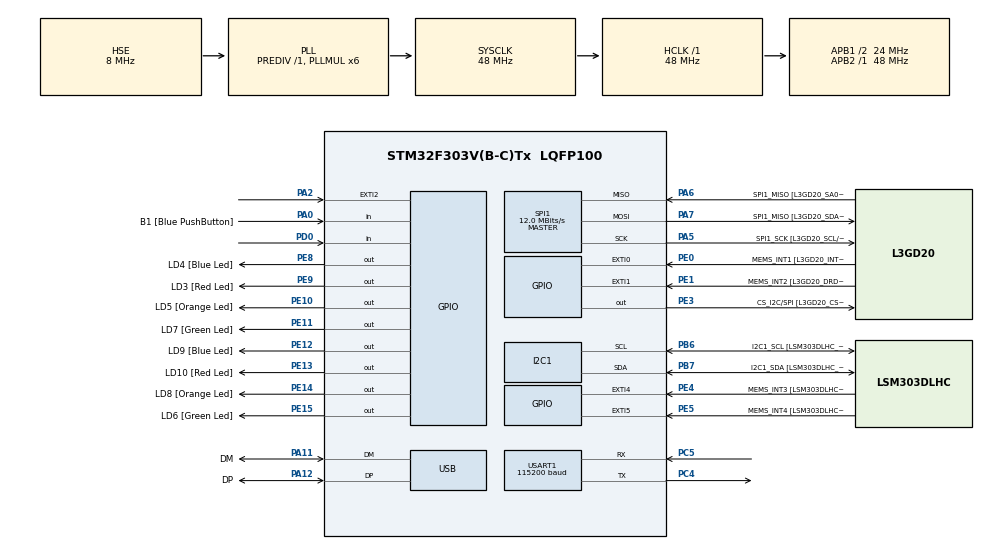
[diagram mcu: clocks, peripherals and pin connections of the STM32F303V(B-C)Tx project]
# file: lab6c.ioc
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I2C1.Timing=0x00201D2B
I2C1.Timing-I2C=0x2000090E
Mcu.Family=STM32F3
Mcu.Name=STM32F303V(B-C)Tx
Mcu.Package=LQFP100
NVIC.PriorityGroup=NVIC_PRIORITYGROUP_0
NVIC.TIM3_IRQn=true\:0\:0\:false\:false\:true\:true\:true\:true
PA0.GPIO_Label=B1 [Blue PushButton]
PA0.Signal=GPIO_Input
PA11.GPIO_Label=DM
PA11.Mode=Device
PA11.Signal=USB_DM
PA12.GPIO_Label=DP
PA12.Mode=Device
PA12.Signal=USB_DP
PA13.GPIO_Label=SWDIO
PA13.Mode=Serial_Wire
PA13.Signal=SYS_JTMS-SWDIO
PA14.GPIO_Label=SWCLK
PA14.Mode=Serial_Wire
PA14.Signal=SYS_JTCK-SWCLK
PA2.Signal=GPXTI2
PA5.GPIO_Label=SPI1_SCK [L3GD20_SCL/SPC]
PA5.Mode=Full_Duplex_Master
PA5.Signal=SPI1_SCK
PA6.GPIO_Label=SPI1_MISO [L3GD20_SA0/SDO]
PA6.Mode=Full_Duplex_Master
PA6.Signal=SPI1_MISO
PA7.GPIO_Label=SPI1_MISO [L3GD20_SDA/SDI/SDO]
PA7.Mode=Full_Duplex_Master
PA7.Signal=SPI1_MOSI
PB3.GPIO_Label=SWO
PB3.Signal=SYS_JTDO-TRACESWO
PB6.GPIO_Label=I2C1_SCL [LSM303DLHC_SCL]
PB6.GPIO_Pu=GPIO_PULLUP
PB6.Mode=I2C
PB6.Signal=I2C1_SCL
PB7.GPIO_Label=I2C1_SDA [LSM303DLHC_SDA]
PB7.GPIO_Pu=GPIO_PULLUP
PB7.Mode=I2C
PB7.Signal=I2C1_SDA
PC14-OSC32_IN.GPIO_Label=OSC32_IN
PC14-OSC32_IN.Signal=RCC_OSC32_IN
PC15-OSC32_OUT.GPIO_Label=OSC32_OUT
PC15-OSC32_OUT.Signal=RCC_OSC32_OUT
PC4.Mode=Asynchronous
PC4.Signal=USART1_TX
PC5.Mode=Asynchronous
PC5.Signal=USART1_RX
PC6.Signal=S_TIM3_CH1
PD0.Signal=GPIO_Input
PE0.GPIO_Label=MEMS_INT1 [L3GD20_INT1]
PE0.GPIO_ModeDefaultEXTI=GPIO_MODE_EVT_RISING
PE0.Signal=GPXTI0
PE1.GPIO_Label=MEMS_INT2 [L3GD20_DRDY/INT2]
PE1.GPIO_ModeDefaultEXTI=GPIO_MODE_EVT_RISING
PE1.Signal=GPXTI1
PE10.GPIO_Label=LD5 [Orange Led]
PE10.Signal=GPIO_Output
PE11.GPIO_Label=LD7 [Green Led]
PE11.Signal=GPIO_Output
PE12.GPIO_Label=LD9 [Blue Led]
PE12.Signal=GPIO_Output
PE13.GPIO_Label=LD10 [Red Led]
PE13.Signal=GPIO_Output
PE14.GPIO_Label=LD8 [Orange Led]
PE14.Signal=GPIO_Output
PE15.GPIO_Label=LD6 [Green Led]
PE15.Signal=GPIO_Output
PE3.GPIO_Label=CS_I2C/SPI [L3GD20_CS_I2C/SPI]
PE3.Signal=GPIO_Output
PE4.GPIO_Label=MEMS_INT3 [LSM303DLHC_INT1]
PE4.GPIO_ModeDefaultEXTI=GPIO_MODE_EVT_RISING
PE4.Signal=GPXTI4
PE5.GPIO_Label=MEMS_INT4 [LSM303DLHC_INT2]
PE5.GPIO_ModeDefaultEXTI=GPIO_MODE_EVT_RISING
PE5.Signal=GPXTI5
PE8.GPIO_Label=LD4 [Blue Led]
PE8.Signal=GPIO_Output
PE9.GPIO_Label=LD3 [Red Led]
PE9.Signal=GPIO_Output
PF0-OSC_IN.GPIO_Label=OSC_IN
PF0-OSC_IN.Mode=HSE-External-Clock-Source
PF0-OSC_IN.Signal=RCC_OSC_IN
PF1-OSC_OUT.GPIO_Label=OSC_OUT
PF1-OSC_OUT.Signal=RCC_OSC_OUT
ProjectManager.HeapSize=0x200
ProjectManager.StackSize=0x400
ProjectManager.TargetToolchain=CMake
RCC.AHBFreq_Value=48000000
RCC.APB1CLKDivider=RCC_HCLK_DIV2
RCC.APB1Freq_Value=24000000
RCC.APB1TimFreq_Value=48000000
RCC.APB2Freq_Value=48000000
RCC.APB2TimFreq_Value=48000000
RCC.CortexFreq_Value=48000000
RCC.HCLKFreq_Value=48000000
RCC.HSE_VALUE=8000000
RCC.HSI_VALUE=8000000
RCC.LSE_VALUE=32768
RCC.PLLMUL=RCC_PLL_MUL6
RCC.SYSCLKFreq_VALUE=48000000
RCC.SYSCLKSourceVirtual=RCC_SYSCLKSOURCE_PLLCLK
RCC.USBFreq_Value=48000000
SH.S_TIM3_CH1.0=TIM3_CH1
SPI1.BaudRatePrescaler=SPI_BAUDRATEPRESCALER_4
SPI1.BaudRatePrescaler-Full_Duplex_Master=SPI_BAUDRATEPRESCALER_2
SPI1.CalculateBaudRate=12.0 MBits/s
SPI1.CalculateBaudRate-Full_Duplex_Master=24.0 MBits/s
SPI1.Direction=SPI_DIRECTION_2LINES
SPI1.Mode=SPI_MODE_MASTER
SPI1.Mode-Full_Duplex_Master=SPI_MODE_MASTER
SPI1.VirtualType=VM_MASTER
TIM3.Prescaler=47
USART1.BaudRate=115200
USART1.VirtualMode-Asynchronous=VM_ASYNC
VP_TIM3_VS_ClockSourceINT.Mode=Internal
board=STM32F3DISCOVERY

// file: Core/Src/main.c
/* USER CODE BEGIN Header */
/**
  ******************************************************************************
  * @file           : main.c
  * @brief          : Main program body
  ******************************************************************************
  * @attention
  *
  * Copyright (c) 2026 STMicroelectronics.
  * All rights reserved.
  *
  * This software is licensed under terms that can be found in the LICENSE file
  * in the root directory of this software component.
  * If no LICENSE file comes with this software, it is provided AS-IS.
  *
  ******************************************************************************
  */
/* USER CODE END Header */
#include "main.h"

/* USER CODE BEGIN Includes */
#include <stdio.h>
/* USER CODE END Includes */

/* USER CODE BEGIN PD */

#define SAMPLES 10
#define PPR 330

/* USER CODE END PD */

I2C_HandleTypeDef hi2c1;

SPI_HandleTypeDef hspi1;

TIM_HandleTypeDef htim3;

UART_HandleTypeDef huart1;

PCD_HandleTypeDef hpcd_USB_FS;

/* USER CODE BEGIN PV */
uint32_t periods[SAMPLES];
uint32_t average = 0;
uint32_t freq = 0;
uint32_t rpm = 0;
/* USER CODE END PV */

void SystemClock_Config(void);
static void MX_GPIO_Init(void);
static void MX_I2C1_Init(void);
static void MX_SPI1_Init(void);
static void MX_USART1_UART_Init(void);
static void MX_USB_PCD_Init(void);
static void MX_TIM3_Init(void);

/* USER CODE BEGIN 0 */
int _write(int file, char *ptr, int len) {
    HAL_UART_Transmit(&huart1, (uint8_t *)ptr, len, HAL_MAX_DELAY);
    return len;
}
/* USER CODE END 0 */

int main(void)
{

  /* MCU Configuration--------------------------------------------------------*/

  /* Reset of all peripherals, Initializes the Flash interface and the Systick. */
  HAL_Init();

  /* Configure the system clock */
  SystemClock_Config();

  /* Initialize all configured peripherals */
  MX_GPIO_Init();
  MX_I2C1_Init();
  MX_SPI1_Init();
  MX_USART1_UART_Init();
  MX_USB_PCD_Init();
  MX_TIM3_Init();
  /* USER CODE BEGIN 2 */

  HAL_TIM_Base_Start(&htim3);

  /* USER CODE END 2 */

  /* Infinite loop */
  while (1)
  {

    /* USER CODE BEGIN 3 */
    uint64_t sum = 0;
    for (int i = 0; i < SAMPLES; i++) {
        while (HAL_GPIO_ReadPin(GPIOD, GPIO_PIN_0) == GPIO_PIN_RESET);
        while (HAL_GPIO_ReadPin(GPIOD, GPIO_PIN_0) == GPIO_PIN_SET);
        __HAL_TIM_SET_COUNTER(&htim3, 0);
        while (HAL_GPIO_ReadPin(GPIOD, GPIO_PIN_0) == GPIO_PIN_RESET);
        while (HAL_GPIO_ReadPin(GPIOD, GPIO_PIN_0) == GPIO_PIN_SET);
        periods[i] = __HAL_TIM_GET_COUNTER(&htim3);
    }
    for (int i = 0; i < SAMPLES; i++) sum = sum + periods[i];
    average = sum / SAMPLES;
    if (average > 0) {
       freq = 666667 / average;
       rpm = (60 * freq) / PPR;
       printf("Average Period: %d us\r\n", (int)average);
       printf("freq: %d Hz\r\n", (int)freq);
       printf("RPM: %d\r\n", (int)rpm);
    }
  }
  /* USER CODE END 3 */
}

void SystemClock_Config(void)
{
  RCC_OscInitTypeDef RCC_OscInitStruct = {0};
  RCC_ClkInitTypeDef RCC_ClkInitStruct = {0};
  RCC_PeriphCLKInitTypeDef PeriphClkInit = {0};

  /** Initializes the RCC Oscillators according to the specified parameters
  * in the RCC_OscInitTypeDef structure.
  */
  RCC_OscInitStruct.OscillatorType = RCC_OSCILLATORTYPE_HSI|RCC_OSCILLATORTYPE_HSE;
  RCC_OscInitStruct.HSEState = RCC_HSE_BYPASS;
  RCC_OscInitStruct.HSEPredivValue = RCC_HSE_PREDIV_DIV1;
  RCC_OscInitStruct.HSIState = RCC_HSI_ON;
  RCC_OscInitStruct.HSICalibrationValue = RCC_HSICALIBRATION_DEFAULT;
  RCC_OscInitStruct.PLL.PLLState = RCC_PLL_ON;
  RCC_OscInitStruct.PLL.PLLSource = RCC_PLLSOURCE_HSE;
  RCC_OscInitStruct.PLL.PLLMUL = RCC_PLL_MUL6;
  if (HAL_RCC_OscConfig(&RCC_OscInitStruct) != HAL_OK)
  {
    Error_Handler();
  }

  /** Initializes the CPU, AHB and APB buses clocks
  */
  RCC_ClkInitStruct.ClockType = RCC_CLOCKTYPE_HCLK|RCC_CLOCKTYPE_SYSCLK
                              |RCC_CLOCKTYPE_PCLK1|RCC_CLOCKTYPE_PCLK2;
  RCC_ClkInitStruct.SYSCLKSource = RCC_SYSCLKSOURCE_PLLCLK;
  RCC_ClkInitStruct.AHBCLKDivider = RCC_SYSCLK_DIV1;
  RCC_ClkInitStruct.APB1CLKDivider = RCC_HCLK_DIV2;
  RCC_ClkInitStruct.APB2CLKDivider = RCC_HCLK_DIV1;

  if (HAL_RCC_ClockConfig(&RCC_ClkInitStruct, FLASH_LATENCY_1) != HAL_OK)
  {
    Error_Handler();
  }
  PeriphClkInit.PeriphClockSelection = RCC_PERIPHCLK_USB|RCC_PERIPHCLK_USART1
                              |RCC_PERIPHCLK_I2C1;
  PeriphClkInit.Usart1ClockSelection = RCC_USART1CLKSOURCE_PCLK2;
  PeriphClkInit.I2c1ClockSelection = RCC_I2C1CLKSOURCE_HSI;
  PeriphClkInit.USBClockSelection = RCC_USBCLKSOURCE_PLL;
  if (HAL_RCCEx_PeriphCLKConfig(&PeriphClkInit) != HAL_OK)
  {
    Error_Handler();
  }
}

static void MX_I2C1_Init(void)
{

  hi2c1.Instance = I2C1;
  hi2c1.Init.Timing = 0x00201D2B;
  hi2c1.Init.OwnAddress1 = 0;
  hi2c1.Init.AddressingMode = I2C_ADDRESSINGMODE_7BIT;
  hi2c1.Init.DualAddressMode = I2C_DUALADDRESS_DISABLE;
  hi2c1.Init.OwnAddress2 = 0;
  hi2c1.Init.OwnAddress2Masks = I2C_OA2_NOMASK;
  hi2c1.Init.GeneralCallMode = I2C_GENERALCALL_DISABLE;
  hi2c1.Init.NoStretchMode = I2C_NOSTRETCH_DISABLE;
  if (HAL_I2C_Init(&hi2c1) != HAL_OK)
  {
    Error_Handler();
  }

  /** Configure Analogue filter
  */
  if (HAL_I2CEx_ConfigAnalogFilter(&hi2c1, I2C_ANALOGFILTER_ENABLE) != HAL_OK)
  {
    Error_Handler();
  }

  /** Configure Digital filter
  */
  if (HAL_I2CEx_ConfigDigitalFilter(&hi2c1, 0) != HAL_OK)
  {
    Error_Handler();
  }

}

static void MX_SPI1_Init(void)
{

  /* SPI1 parameter configuration*/
  hspi1.Instance = SPI1;
  hspi1.Init.Mode = SPI_MODE_MASTER;
  hspi1.Init.Direction = SPI_DIRECTION_2LINES;
  hspi1.Init.DataSize = SPI_DATASIZE_4BIT;
  hspi1.Init.CLKPolarity = SPI_POLARITY_LOW;
  hspi1.Init.CLKPhase = SPI_PHASE_1EDGE;
  hspi1.Init.NSS = SPI_NSS_SOFT;
  hspi1.Init.BaudRatePrescaler = SPI_BAUDRATEPRESCALER_4;
  hspi1.Init.FirstBit = SPI_FIRSTBIT_MSB;
  hspi1.Init.TIMode = SPI_TIMODE_DISABLE;
  hspi1.Init.CRCCalculation = SPI_CRCCALCULATION_DISABLE;
  hspi1.Init.CRCPolynomial = 7;
  hspi1.Init.CRCLength = SPI_CRC_LENGTH_DATASIZE;
  hspi1.Init.NSSPMode = SPI_NSS_PULSE_ENABLE;
  if (HAL_SPI_Init(&hspi1) != HAL_OK)
  {
    Error_Handler();
  }

}

static void MX_TIM3_Init(void)
{

  TIM_ClockConfigTypeDef sClockSourceConfig = {0};
  TIM_MasterConfigTypeDef sMasterConfig = {0};

  htim3.Instance = TIM3;
  htim3.Init.Prescaler = 47;
  htim3.Init.CounterMode = TIM_COUNTERMODE_UP;
  htim3.Init.Period = 65535;
  htim3.Init.ClockDivision = TIM_CLOCKDIVISION_DIV1;
  htim3.Init.AutoReloadPreload = TIM_AUTORELOAD_PRELOAD_DISABLE;
  if (HAL_TIM_Base_Init(&htim3) != HAL_OK)
  {
    Error_Handler();
  }
  sClockSourceConfig.ClockSource = TIM_CLOCKSOURCE_INTERNAL;
  if (HAL_TIM_ConfigClockSource(&htim3, &sClockSourceConfig) != HAL_OK)
  {
    Error_Handler();
  }
  sMasterConfig.MasterOutputTrigger = TIM_TRGO_RESET;
  sMasterConfig.MasterSlaveMode = TIM_MASTERSLAVEMODE_DISABLE;
  if (HAL_TIMEx_MasterConfigSynchronization(&htim3, &sMasterConfig) != HAL_OK)
  {
    Error_Handler();
  }

}

static void MX_USART1_UART_Init(void)
{

  huart1.Instance = USART1;
  huart1.Init.BaudRate = 115200;
  huart1.Init.WordLength = UART_WORDLENGTH_8B;
  huart1.Init.StopBits = UART_STOPBITS_1;
  huart1.Init.Parity = UART_PARITY_NONE;
  huart1.Init.Mode = UART_MODE_TX_RX;
  huart1.Init.HwFlowCtl = UART_HWCONTROL_NONE;
  huart1.Init.OverSampling = UART_OVERSAMPLING_16;
  huart1.Init.OneBitSampling = UART_ONE_BIT_SAMPLE_DISABLE;
  huart1.AdvancedInit.AdvFeatureInit = UART_ADVFEATURE_NO_INIT;
  if (HAL_UART_Init(&huart1) != HAL_OK)
  {
    Error_Handler();
  }

}

static void MX_USB_PCD_Init(void)
{

  hpcd_USB_FS.Instance = USB;
  hpcd_USB_FS.Init.dev_endpoints = 8;
  hpcd_USB_FS.Init.speed = PCD_SPEED_FULL;
  hpcd_USB_FS.Init.phy_itface = PCD_PHY_EMBEDDED;
  hpcd_USB_FS.Init.low_power_enable = DISABLE;
  hpcd_USB_FS.Init.battery_charging_enable = DISABLE;
  if (HAL_PCD_Init(&hpcd_USB_FS) != HAL_OK)
  {
    Error_Handler();
  }

}

static void MX_GPIO_Init(void)
{
  GPIO_InitTypeDef GPIO_InitStruct = {0};

  /* GPIO Ports Clock Enable */
  __HAL_RCC_GPIOE_CLK_ENABLE();
  __HAL_RCC_GPIOC_CLK_ENABLE();
  __HAL_RCC_GPIOF_CLK_ENABLE();
  __HAL_RCC_GPIOA_CLK_ENABLE();
  __HAL_RCC_GPIOD_CLK_ENABLE();
  __HAL_RCC_GPIOB_CLK_ENABLE();

  /*Configure GPIO pin Output Level */
  HAL_GPIO_WritePin(GPIOE, CS_I2C_SPI_Pin|LD4_Pin|LD3_Pin|LD5_Pin
                          |LD7_Pin|LD9_Pin|LD10_Pin|LD8_Pin
                          |LD6_Pin, GPIO_PIN_RESET);

  /*Configure GPIO pins : CS_I2C_SPI_Pin LD4_Pin LD3_Pin LD5_Pin
                           LD7_Pin LD9_Pin LD10_Pin LD8_Pin
                           LD6_Pin */
  GPIO_InitStruct.Pin = CS_I2C_SPI_Pin|LD4_Pin|LD3_Pin|LD5_Pin
                          |LD7_Pin|LD9_Pin|LD10_Pin|LD8_Pin
                          |LD6_Pin;
  GPIO_InitStruct.Mode = GPIO_MODE_OUTPUT_PP;
  GPIO_InitStruct.Pull = GPIO_NOPULL;
  GPIO_InitStruct.Speed = GPIO_SPEED_FREQ_LOW;
  HAL_GPIO_Init(GPIOE, &GPIO_InitStruct);

  /*Configure GPIO pins : MEMS_INT3_Pin MEMS_INT4_Pin MEMS_INT1_Pin MEMS_INT2_Pin */
  GPIO_InitStruct.Pin = MEMS_INT3_Pin|MEMS_INT4_Pin|MEMS_INT1_Pin|MEMS_INT2_Pin;
  GPIO_InitStruct.Mode = GPIO_MODE_EVT_RISING;
  GPIO_InitStruct.Pull = GPIO_NOPULL;
  HAL_GPIO_Init(GPIOE, &GPIO_InitStruct);

  /*Configure GPIO pin : B1_Pin */
  GPIO_InitStruct.Pin = B1_Pin;
  GPIO_InitStruct.Mode = GPIO_MODE_INPUT;
  GPIO_InitStruct.Pull = GPIO_NOPULL;
  HAL_GPIO_Init(B1_GPIO_Port, &GPIO_InitStruct);

  /*Configure GPIO pin : PA2 */
  GPIO_InitStruct.Pin = GPIO_PIN_2;
  GPIO_InitStruct.Mode = GPIO_MODE_IT_RISING;
  GPIO_InitStruct.Pull = GPIO_NOPULL;
  HAL_GPIO_Init(GPIOA, &GPIO_InitStruct);

  /*Configure GPIO pin : PD0 */
  GPIO_InitStruct.Pin = GPIO_PIN_0;
  GPIO_InitStruct.Mode = GPIO_MODE_INPUT;
  GPIO_InitStruct.Pull = GPIO_NOPULL;
  HAL_GPIO_Init(GPIOD, &GPIO_InitStruct);

}

void Error_Handler(void)
{
  __disable_irq();
  while (1)
  {
  }
}
